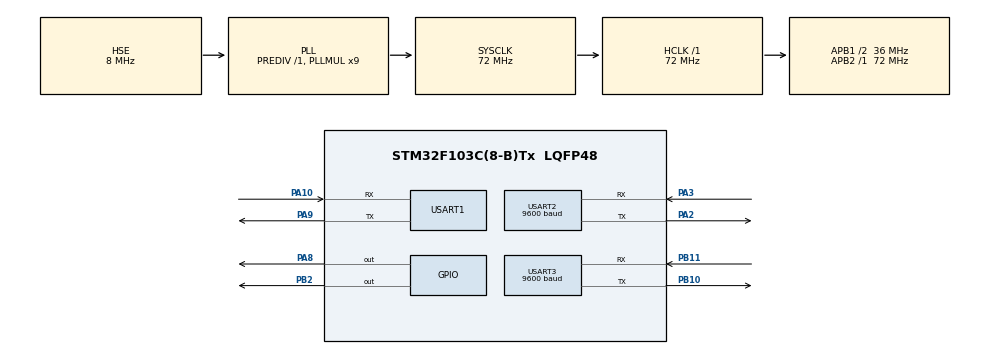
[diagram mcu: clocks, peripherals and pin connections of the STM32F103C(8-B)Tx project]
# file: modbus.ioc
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Dma.Request0=USART3_RX
Dma.Request1=USART1_RX
Dma.USART1_RX.1.Direction=DMA_PERIPH_TO_MEMORY
Dma.USART1_RX.1.Instance=DMA1_Channel5
Dma.USART1_RX.1.MemDataAlignment=DMA_MDATAALIGN_BYTE
Dma.USART1_RX.1.MemInc=DMA_MINC_ENABLE
Dma.USART1_RX.1.Mode=DMA_CIRCULAR
Dma.USART1_RX.1.PeriphDataAlignment=DMA_PDATAALIGN_BYTE
Dma.USART1_RX.1.PeriphInc=DMA_PINC_DISABLE
Dma.USART1_RX.1.Priority=DMA_PRIORITY_LOW
Dma.USART3_RX.0.Direction=DMA_PERIPH_TO_MEMORY
Dma.USART3_RX.0.Instance=DMA1_Channel3
Dma.USART3_RX.0.MemDataAlignment=DMA_MDATAALIGN_BYTE
Dma.USART3_RX.0.MemInc=DMA_MINC_ENABLE
Dma.USART3_RX.0.Mode=DMA_CIRCULAR
Dma.USART3_RX.0.PeriphDataAlignment=DMA_PDATAALIGN_BYTE
Dma.USART3_RX.0.PeriphInc=DMA_PINC_DISABLE
Dma.USART3_RX.0.Priority=DMA_PRIORITY_LOW
Mcu.Family=STM32F1
Mcu.Name=STM32F103C(8-B)Tx
Mcu.Package=LQFP48
NVIC.DMA1_Channel3_IRQn=true\:0\:0\:false\:false\:true\:false\:true\:true
NVIC.DMA1_Channel5_IRQn=true\:0\:0\:false\:false\:true\:false\:true\:true
NVIC.PriorityGroup=NVIC_PRIORITYGROUP_4
NVIC.TIM2_IRQn=true\:1\:0\:true\:false\:true\:true\:true\:true
NVIC.USART1_IRQn=true\:0\:0\:false\:false\:true\:true\:true\:true
NVIC.USART2_IRQn=true\:2\:0\:true\:false\:true\:true\:true\:true
NVIC.USART3_IRQn=true\:0\:0\:false\:false\:true\:true\:true\:true
PA10.Mode=Asynchronous
PA10.Signal=USART1_RX
PA13.Mode=Serial_Wire
PA13.Signal=SYS_JTMS-SWDIO
PA14.Mode=Serial_Wire
PA14.Signal=SYS_JTCK-SWCLK
PA2.Mode=Asynchronous
PA2.Signal=USART2_TX
PA3.Mode=Asynchronous
PA3.Signal=USART2_RX
PA8.Signal=GPIO_Output
PA9.Mode=Asynchronous
PA9.Signal=USART1_TX
PB10.Mode=Asynchronous
PB10.Signal=USART3_TX
PB11.Mode=Asynchronous
PB11.Signal=USART3_RX
PB2.Signal=GPIO_Output
PD0-OSC_IN.Mode=HSE-External-Oscillator
PD0-OSC_IN.Signal=RCC_OSC_IN
PD1-OSC_OUT.Mode=HSE-External-Oscillator
PD1-OSC_OUT.Signal=RCC_OSC_OUT
ProjectManager.HeapSize=0x200
ProjectManager.StackSize=0x400
ProjectManager.TargetToolchain=MDK-ARM V5.32
RCC.AHBFreq_Value=72000000
RCC.APB1CLKDivider=RCC_HCLK_DIV2
RCC.APB1Freq_Value=36000000
RCC.APB1TimFreq_Value=72000000
RCC.APB2Freq_Value=72000000
RCC.APB2TimFreq_Value=72000000
RCC.HCLKFreq_Value=72000000
RCC.PLLMUL=RCC_PLL_MUL9
RCC.PLLSourceVirtual=RCC_PLLSOURCE_HSE
RCC.SYSCLKFreq_VALUE=72000000
RCC.SYSCLKSource=RCC_SYSCLKSOURCE_PLLCLK
RCC.USBFreq_Value=72000000
TIM2.Prescaler=71
USART1.VirtualMode=VM_ASYNC
USART2.BaudRate=9600
USART2.VirtualMode=VM_ASYNC
USART3.BaudRate=9600
USART3.VirtualMode=VM_ASYNC
VP_TIM2_VS_ClockSourceINT.Mode=Internal
board=custom

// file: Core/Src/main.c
/* USER CODE BEGIN Header */
/**
  ******************************************************************************
  * @file           : main.c
  * @brief          : Main program body
  ******************************************************************************
  * @attention
  *
  * Copyright (c) 2025 STMicroelectronics.
  * All rights reserved.
  *
  * This software is licensed under terms that can be found in the LICENSE file
  * in the root directory of this software component.
  * If no LICENSE file comes with this software, it is provided AS-IS.
  *
  ******************************************************************************
  */
/* USER CODE END Header */
#include "main.h"
#include "dma.h"
#include "tim.h"
#include "usart.h"
#include "gpio.h"

/* USER CODE BEGIN Includes */
#include "mb_rtu_master.h"
#include "mb_config.h"
#include "mb_crc.h"
#include "mb_defs.h"
#include "mb_rtu_slave.h"
#include "porttimer.h"
#include "rs485.h"
#include <string.h>
/* USER CODE END Includes */

void SystemClock_Config(void);

int main(void)
{

  /* MCU Configuration--------------------------------------------------------*/

  /* Reset of all peripherals, Initializes the Flash interface and the Systick. */
  HAL_Init();

  /* Configure the system clock */
  SystemClock_Config();

  /* Initialize all configured peripherals */
  MX_GPIO_Init();
  MX_DMA_Init();
  MX_USART1_UART_Init();
  MX_USART2_UART_Init();
  MX_USART3_UART_Init();
  MX_TIM2_Init();
  /* USER CODE BEGIN 2 */
    /* 将 debug printf 重定向到 huart2（若需要） */
    /* 初始化 Modbus 从机（USART3） 地址 1 */
    eMBRTUInit(1, 3, 9600, MB_PAR_NONE);
    eMBRTUStart();

    /* 初始化 Modbus 主机（USART1） */
    eMBMasterRTUInit(1, 9600, MB_PAR_NONE); /* ucPort=1 表示 USART1 */
    eMBMasterRTUStart();
  /* USER CODE END 2 */

  /* Infinite loop */
  while (1)
  {

    /* USER CODE BEGIN 3 */
	  /* 示例：构造 read holding registers 请求 */
        UCHAR frameReq[5];
        frameReq[0] = 0x03; /* function */
        frameReq[1] = 0x00;
        frameReq[2] = 0x00; /* address 0 */
        frameReq[3] = 0x00;
        frameReq[4] = 0x02; /* count 2 */

        eMBMasterRTUSend(2, frameReq, 5); /* 询问从机地址2 */
        HAL_Delay(200); /* 简单延时，等待响应（或查询 eMBMasterRTUReceive） */

        /* 若收到响应，可调用 eMBMasterRTUReceive */
        UCHAR addr;
        UCHAR *pdu;
        USHORT len;
        if (eMBMasterRTUReceive(&addr, &pdu, &len) == MB_ENOERR) {
            /* 解析 pdu */
            /* debug 输出 */
            char msg[128];
            sprintf(msg, "Master received from %d, pdu len=%d\r\n", addr, len);
            HAL_UART_Transmit(&huart2, (uint8_t*)msg, strlen(msg), HAL_MAX_DELAY);
        }

        HAL_Delay(1000);
  }
  /* USER CODE END 3 */
}

void SystemClock_Config(void)
{
  RCC_OscInitTypeDef RCC_OscInitStruct = {0};
  RCC_ClkInitTypeDef RCC_ClkInitStruct = {0};

  /** Initializes the RCC Oscillators according to the specified parameters
  * in the RCC_OscInitTypeDef structure.
  */
  RCC_OscInitStruct.OscillatorType = RCC_OSCILLATORTYPE_HSE;
  RCC_OscInitStruct.HSEState = RCC_HSE_ON;
  RCC_OscInitStruct.HSEPredivValue = RCC_HSE_PREDIV_DIV1;
  RCC_OscInitStruct.HSIState = RCC_HSI_ON;
  RCC_OscInitStruct.PLL.PLLState = RCC_PLL_ON;
  RCC_OscInitStruct.PLL.PLLSource = RCC_PLLSOURCE_HSE;
  RCC_OscInitStruct.PLL.PLLMUL = RCC_PLL_MUL9;
  if (HAL_RCC_OscConfig(&RCC_OscInitStruct) != HAL_OK)
  {
    Error_Handler();
  }

  /** Initializes the CPU, AHB and APB buses clocks
  */
  RCC_ClkInitStruct.ClockType = RCC_CLOCKTYPE_HCLK|RCC_CLOCKTYPE_SYSCLK
                              |RCC_CLOCKTYPE_PCLK1|RCC_CLOCKTYPE_PCLK2;
  RCC_ClkInitStruct.SYSCLKSource = RCC_SYSCLKSOURCE_PLLCLK;
  RCC_ClkInitStruct.AHBCLKDivider = RCC_SYSCLK_DIV1;
  RCC_ClkInitStruct.APB1CLKDivider = RCC_HCLK_DIV2;
  RCC_ClkInitStruct.APB2CLKDivider = RCC_HCLK_DIV1;

  if (HAL_RCC_ClockConfig(&RCC_ClkInitStruct, FLASH_LATENCY_2) != HAL_OK)
  {
    Error_Handler();
  }
}

void Error_Handler(void)
{
  __disable_irq();
  while (1)
  {
  }
}
